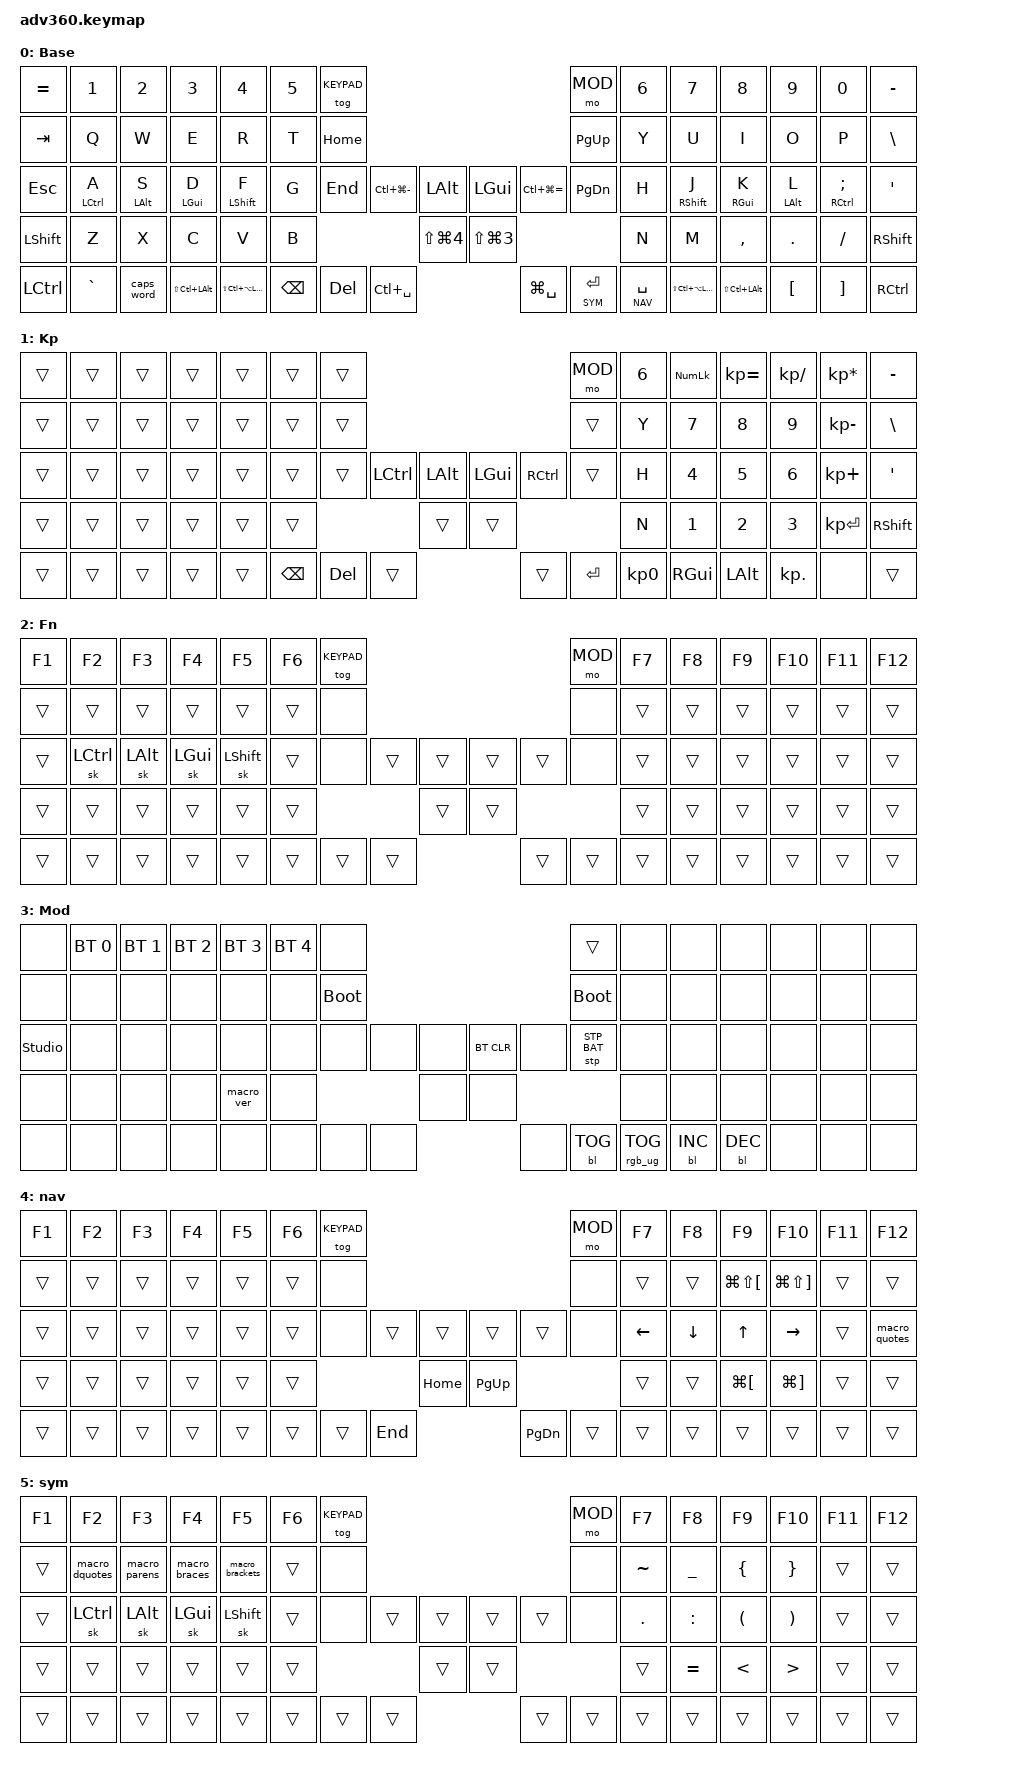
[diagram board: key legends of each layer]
#include <behaviors.dtsi>
#include <dt-bindings/zmk/keys.h>
#include <dt-bindings/zmk/bt.h>
#include <dt-bindings/zmk/rgb.h>
#include <dt-bindings/zmk/stp.h>
#include <dt-bindings/zmk/backlight.h>
#include <dt-bindings/zmk/pointing.h>

#define DEFAULT 0
#define KEYPAD 1
#define FN 2
#define MOD 3
#define NAV 4
#define SYM 5

#define KEYS_L   0 1 2 3 4 5 6 14 15 16 17 18 19 20 28 29 30 31 32 33 34 46 47 48 49 50 51 60 61 62 63 64
#define THUMBS   35 36 37 38 52 53 65 66 67 68 69 70
#define KEYS_R   7 8 9 10 11 12 13 21 22 23 24 25 26 27 39 40 41 42 43 44 45 54 55 56 57 58 59 71 72 73 74 75

// define keycombo shortcuts
#define CLIP LC(LG(EQUAL))
#define PASS LC(LG(MINUS))
#define TASK LC(SPACE)
#define ALFD LG(SPACE)
#define SSCS LS(LG(N4)) // Select Screen Shot
#define ASCS LS(LG(N3)) // All Screen Shot
#define HYPR        LS(LC(LA(LGUI)))
#define MEH        LS(LC(LALT))

#define HM_TAPPING_TERM 280
#define TAPPING_TERM 200
#define QUICK_TAPPING_TERM 175
#define HM_PRIOR_IDLE 160

&sk {  // sticky-key config
    release-after-ms = <900>;  // release after 0.9s
    quick-release;             // no double capitalization when rolling keys
};

&sl { // sticky-layer config
    ignore-modifiers;
};

&lt {
    flavor = "balanced";
    tapping-term-ms = <200>;
    quick_tap_ms = <QUICK_TAPPING_TERM>;
};

/ {
    behaviors {
      #include "macros.dtsi"
      #include "version.dtsi"

      hm: homerow_mods {
          compatible = "zmk,behavior-hold-tap";
          label = "HOMEROW_MODS";
          #binding-cells = <2>;
          tapping-term-ms = <200>;
          quick_tap_ms = <175>;
          flavor = "tap-preferred";
          bindings = <&kp>, <&kp>;
      };

      hml: left_homerow_mods {
          compatible = "zmk,behavior-hold-tap";
          label = "HOMEROW_MODS_LEFT";
          #binding-cells = <2>;
          flavor = "balanced";
          tapping-term-ms = <HM_TAPPING_TERM>;
          quick-tap-ms = <QUICK_TAPPING_TERM>;
          require-prior-idle-ms = <HM_PRIOR_IDLE>;
          hold-trigger-key-positions = <KEYS_R THUMBS>;
          hold-trigger-on-release;
          bindings = <&kp>, <&kp>;
      };

      hmr: right_homerow_mods {
          compatible = "zmk,behavior-hold-tap";
          label = "HOMEROW_MODS_RIGHT";
          #binding-cells = <2>;
          flavor = "balanced";
          tapping-term-ms = <HM_TAPPING_TERM>;
          quick-tap-ms = <QUICK_TAPPING_TERM>;
          require-prior-idle-ms = <HM_PRIOR_IDLE>;
          hold-trigger-key-positions = <KEYS_L THUMBS>;
          hold-trigger-on-release;
          bindings = <&kp>, <&kp>;
      };
    };

  keymap {
    compatible = "zmk,keymap";

    default_layer {
      display-name = "Base";
      bindings = <
        &kp EQUAL   &kp N1        &kp N2       &kp N3       &kp N4         &kp N5 &tog KEYPAD                                               &mo MOD    &kp N6  &kp N7         &kp N8       &kp N9       &kp N0           &kp MINUS
        &kp TAB     &kp Q         &kp W        &kp E        &kp R          &kp T  &kp HOME                                                  &kp PG_UP  &kp Y   &kp U          &kp I        &kp O        &kp P            &kp BSLH
        &kp ESC     &hml LCTRL A  &hml LALT S  &hml LGUI D  &hml LSHIFT F  &kp G  &kp END      &kp PASS  &kp LALT   &kp LGUI  &kp CLIP      &kp PG_DN  &kp H   &hmr RSHIFT J  &hmr RGUI K  &hmr LALT L  &hmr RCTRL SEMI  &kp SQT
        &kp LSHFT   &kp Z         &kp X        &kp C        &kp V          &kp B                         &kp SSCS   &kp ASCS                           &kp N   &kp M          &kp COMMA    &kp DOT      &kp FSLH         &kp RSHFT
        &kp LCTRL   &kp GRAVE     &caps_word   &kp MEH      &kp HYPR                   &kp BSPC &kp DEL  &kp TASK   &kp ALFD &lt SYM ENTER &lt NAV SPACE       &kp HYPR       &kp MEH      &kp LBKT     &kp RBKT         &kp RCTRL
      >;
    };
    keypad {
      display-name = "Kp";
      bindings = <
        &trans &trans &trans &trans &trans &trans  &trans                                                           &mo MOD &kp N6 &kp KP_NUM &kp KP_EQUAL &kp KP_DIVIDE &kp KP_MULTIPLY &kp MINUS
        &trans &trans &trans &trans &trans &trans  &trans                                                            &trans &kp Y  &kp N7  &kp N8    &kp N9     &kp KP_MINUS    &kp BSLH
        &trans &trans &trans &trans &trans &trans  &trans           &kp LCTRL &kp LALT &kp LGUI  &kp RCTRL           &trans &kp H  &kp N4  &kp N5    &kp N6     &kp KP_PLUS     &kp SQT
        &trans &trans &trans &trans &trans &trans                            &trans &trans                                  &kp N  &kp N1  &kp N2    &kp N3     &kp KP_ENTER    &kp RSHFT
        &trans &trans &trans &trans &trans                &kp BSPC &kp DEL   &trans &trans &kp ENTER &kp KP_N0              &kp RGUI     &kp LALT     &kp KP_DOT    &none        &trans
      >;
    };
    fn {
      display-name = "Fn";
      bindings = <
        &kp F1 &kp F2 &kp F3 &kp F4 &kp F5 &kp F6 &tog KEYPAD                                           &mo MOD &kp F7 &kp F8 &kp F9 &kp F10 &kp F11 &kp F12
        &trans &trans &trans &trans &trans &trans  &none                                           &none &trans &trans &trans &trans  &trans  &trans
        &trans &sk LCTRL &sk LALT &sk LGUI &sk LSHIFT &trans  &none        &trans &trans &trans &trans        &none &trans &trans &trans &trans  &trans  &trans
        &trans &trans &trans &trans &trans &trans                      &trans &trans                     &trans &trans &trans &trans  &trans  &trans
        &trans &trans &trans &trans &trans               &trans &trans &trans &trans &trans &trans              &trans &trans &trans  &trans  &trans
      >;
    };
    mod {
      display-name = "Mod";
      bindings = <
        &none &bt BT_SEL 0 &bt BT_SEL 1 &bt BT_SEL 2 &bt BT_SEL 3 &bt BT_SEL 4 &none                                                                     &trans                 &none        &none        &none        &none &none &none
        &none &none        &none        &none        &none        &none        &bootloader                                                               &bootloader            &none        &none        &none        &none &none &none
        &studio_unlock &none        &none        &none        &none        &none        &none                   &none &none &bt BT_CLR &none                      &stp STP_BAT &none        &none        &none        &none &none &none
        &none &none        &none        &none        &macro_ver   &none                                      &none &none                                                        &none        &none        &none        &none &none &none
        &none &none        &none        &none        &none                                       &none &none &none &none      &bl BL_TOG &rgb_ug RGB_TOG                                     &bl BL_INC   &bl BL_DEC   &none &none &none
      >;
    };
    nav {
          bindings = <
            &kp F1 &kp F2 &kp F3 &kp F4 &kp F5 &kp F6 &tog KEYPAD                                                     &mo MOD &kp F7 &kp F8 &kp F9 &kp F10 &kp F11 &kp F12
            &trans &trans &trans &trans &trans &trans  &none                                                          &none &trans    &trans    &kp LG(LS(LBKT))  &kp LG(LS(RBKT))   &trans  &trans
            &trans &trans &trans &trans &trans &trans  &none               &trans &trans    &trans &trans             &none &kp LEFT  &kp DOWN  &kp UP            &kp RIGHT          &trans  &macro_quotes
            &trans &trans &trans &trans &trans &trans                             &kp HOME  &kp PG_UP                       &trans    &trans    &kp LG(LBKT)      &kp LG(RBKT)       &trans  &trans
            &trans &trans &trans &trans &trans                      &trans &trans &kp END   &kp PG_DN  &trans &trans                  &trans    &trans            &trans             &trans  &trans
          >;
    };
    sym {
          bindings = <
            &kp F1 &kp F2 &kp F3 &kp F4 &kp F5 &kp F6 &tog KEYPAD                                                                   &mo MOD &kp F7     &kp F8          &kp F9    &kp F10    &kp F11 &kp F12
            &trans &macro_dquotes &macro_parens &macro_braces &macro_brackets &trans  &none                                         &none   &kp TILDE  &kp UNDERSCORE  &kp LBRC  &kp RBRC   &trans  &trans
            &trans &sk LCTRL &sk LALT &sk LGUI &sk LSHIFT &trans  &none                                     &trans &trans &trans &trans        &none   &kp DOT    &kp COLON       &kp LPAR  &kp RPAR   &trans  &trans
            &trans &trans &trans &trans &trans &trans                                                   &trans &trans                       &trans     &kp EQUAL       &kp LT    &kp GT     &trans  &trans
            &trans &trans &trans &trans &trans                                            &trans &trans &trans &trans &trans &trans                    &trans          &trans    &trans     &trans  &trans
          >;
    };
    extra1 {
      display-name = "Red";
      status = "reserved";
    };

    extra2 {
      display-name = "Purple";
      status = "reserved";
    };

    extra3 {
      display-name = "Cyan";
      status = "reserved";
    };

    extra4 {
      display-name = "Yellow";
      status = "reserved";
    };
  };
};







